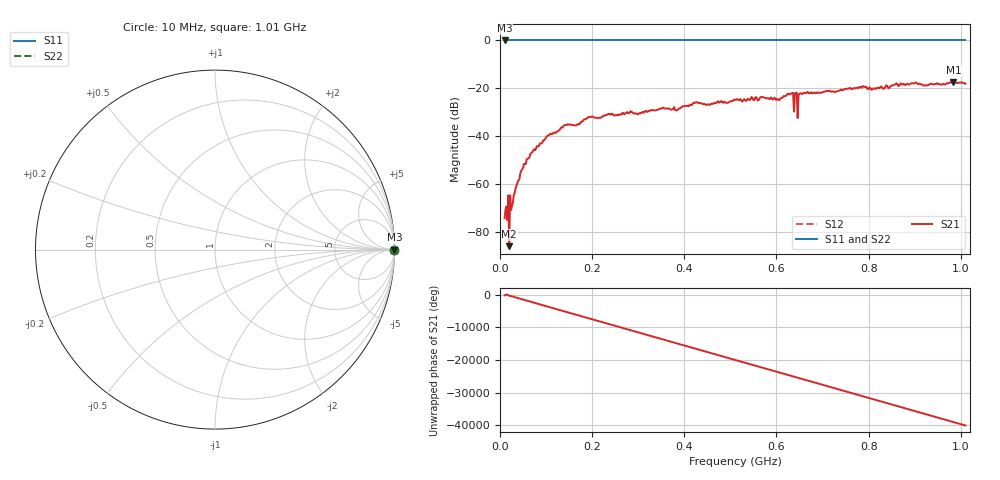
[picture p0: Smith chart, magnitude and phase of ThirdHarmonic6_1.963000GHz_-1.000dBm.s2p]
! 8/16/2025 11:37:35 PM
! C:\ANRITSUVNA\TEMP\TEMP.S2P
! CHANNEL.1
! TR.MEASUREMENT
! RAW.DATA
! RF.CORRECTION.OFF
! AVERAGING.OFF
! IF.BANDWIDTH: 5KHZ
! SWEEPTYPE:  FREQ.SWEEP(Linear)
! Reference Plane Port Info
! PORT:  PORT1  PORT2
! DISTANCE:  0  m  0  m
! TIME:  0  s  0  s
! PHASE.OFFSET:  0  deg.  0  deg.
! LOSS:  0  dB  0  dB
! REF.LOSS:  0  dB  0  dB
! REF.FREQ:  0  Hz  0  Hz
! Power Info
! POWER:  -20  dBm  -20  dBm
! EFF.POWER:  -20  dBm  -20  dBm
! SOURCE.ATTEN:  0  dB  0  dB
! TEST.ATTEN:  0  dB  0  dB
# GHZ S RI R 50.0
! FREQ.GHZ  S11RE  S11IM  S21RE  S21IM  S12RE  S12IM  S22RE  S22IM
!; PortSelection: Port_12
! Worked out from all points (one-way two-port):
!   501 points, 10 MHz to 1.01 GHz, reference 50 ohm
!   highest |S21| = -17.41 dB at 984 MHz (marker M1); lowest = -85.8 dB at 20 MHz (marker M2)
!   lowest |S11| = 0.0 dB at 10 MHz (marker M3)
!   |S11| at or under -10 dB: nowhere
!   |S22| runs from 0.0 to 0.0 dB; largest |S21 - S12| = 1.1
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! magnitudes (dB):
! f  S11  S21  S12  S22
! 10 MHz  0.0  -74.1  0.0  0.0
! 20 MHz  0.0  -85.8  0.0  0.0
! 24 MHz  0.0  -70.7  0.0  0.0
! 26 MHz  0.0  -69.0  0.0  0.0
! 48 MHz  0.0  -53.8  0.0  0.0
! 70 MHz  0.0  -46.6  0.0  0.0
! 106 MHz  0.0  -39.5  0.0  0.0
! 142 MHz  0.0  -35.3  0.0  0.0
! 178 MHz  0.0  -33.9  0.0  0.0
! 196 MHz  0.0  -31.9  0.0  0.0
! 344 MHz  0.0  -28.8  0.0  0.0
! 510 MHz  0.0  -24.7  0.0  0.0
! 604 MHz  0.0  -24.6  0.0  0.0
! 632 MHz  0.0  -22.1  0.0  0.0
! 640 MHz  0.0  -22.0  0.0  0.0
! 642 MHz  0.0  -21.9  0.0  0.0
! 650 MHz  0.0  -22.3  0.0  0.0
! 652 MHz  0.0  -22.0  0.0  0.0
! 678 MHz  0.0  -22.1  0.0  0.0
! 844 MHz  0.0  -19.9  0.0  0.0
! 984 MHz  0.0  -17.4  0.0  0.0
! 1.01 GHz  0.0  -18.1  0.0  0.0
